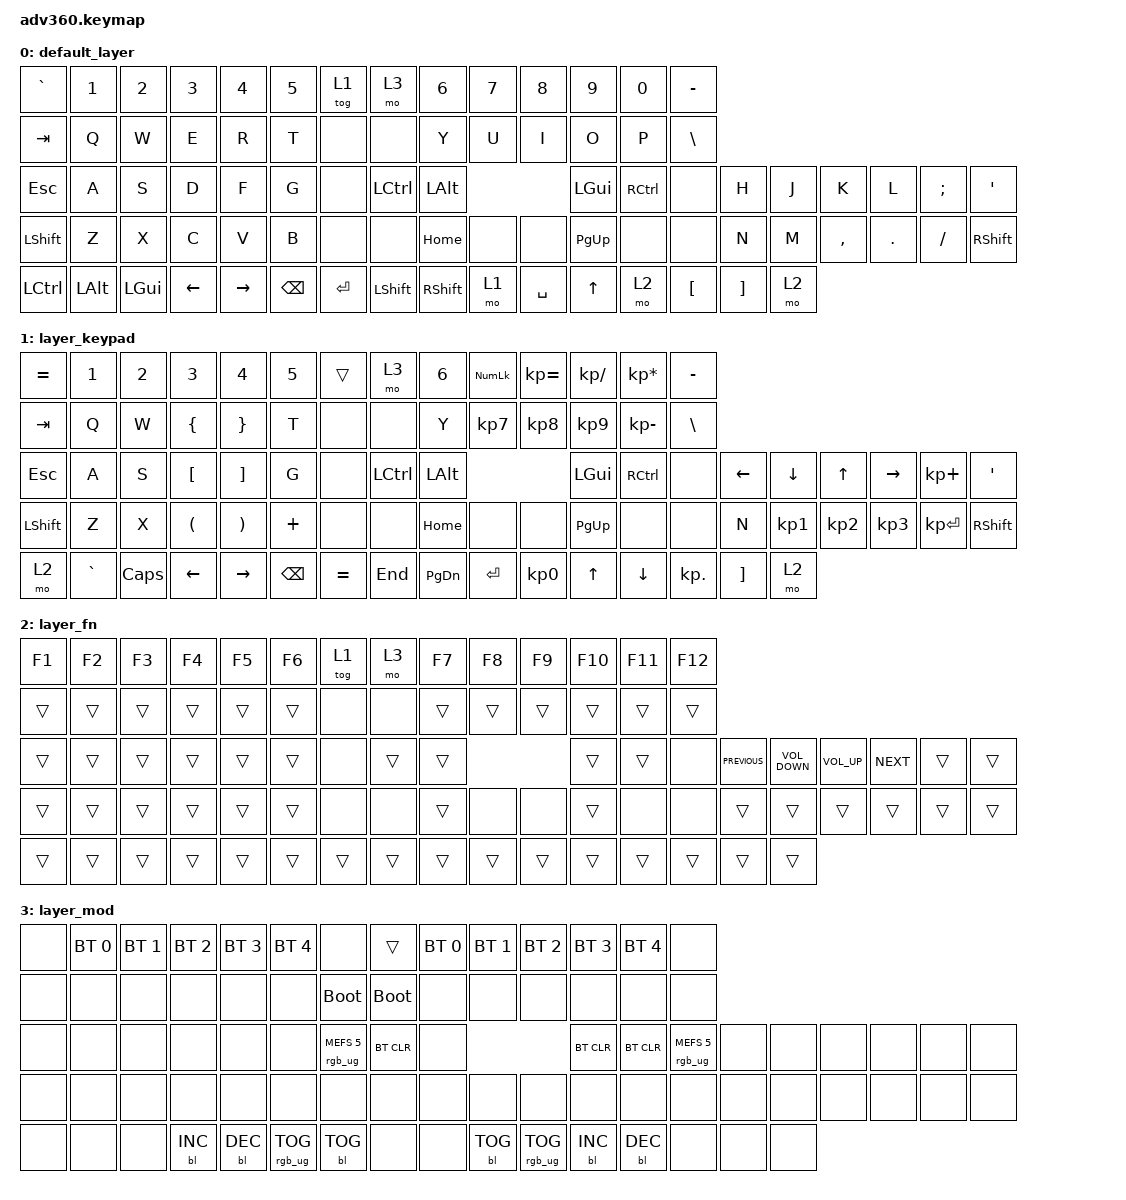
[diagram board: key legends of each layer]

/*
 * Copyright (c) 2020 The ZMK Contributors
 *
 * SPDX-License-Identifier: MIT
 */


/* THIS FILE WAS GENERATED!
 *
 * This file was generated automatically. You may or may not want to
 * edit it directly.
 */

#include <behaviors.dtsi>
#include <dt-bindings/zmk/keys.h>
#include <dt-bindings/zmk/bt.h>
#include <dt-bindings/zmk/rgb.h>
#include <dt-bindings/zmk/backlight.h>

/ {
  behaviors {
    #include "macros.dtsi"

    hm: homerow_mods {
        compatible = "zmk,behavior-hold-tap";
        label = "HOMEROW_MODS";
        #binding-cells = <2>;
        tapping-term-ms = <200>;
        quick_tap_ms = <175>;
        flavor = "tap-preferred";
        bindings = <&kp>, <&kp>;
    };
  };

    keymap {
        compatible = "zmk,keymap";


        default_layer {
            bindings = <
        &kp GRAVE        &kp N1        &kp N2    &kp N3     &kp N4    &kp N5                &tog 1           &mo 3           &kp N6  &kp N7     &kp N8     &kp N9     &kp N0  &kp MINUS
          &kp TAB         &kp Q         &kp W     &kp E      &kp R     &kp T                 &none           &none            &kp Y   &kp U      &kp I      &kp O      &kp P   &kp BSLH
          &kp ESC         &kp A         &kp S     &kp D      &kp F     &kp G                 &none       &kp LCTRL         &kp LALT                      &kp LGUI  &kp RCTRL      &none     &kp H   &kp J      &kp K    &kp L  &kp SEMI    &kp SQT
        &kp LSHFT         &kp Z         &kp X     &kp C      &kp V     &kp B                 &none           &none         &kp HOME   &none      &none  &kp PG_UP      &none      &none     &kp N   &kp M  &kp COMMA  &kp DOT  &kp FSLH  &kp RSHFT
 &kp LEFT_CONTROL  &kp LEFT_ALT  &kp LEFT_GUI  &kp LEFT  &kp RIGHT  &kp BSPC            &kp RETURN  &kp LEFT_SHIFT  &kp RIGHT_SHIFT   &mo 1  &kp SPACE     &kp UP      &mo 2   &kp LBKT  &kp RBKT   &mo 2
            >;
        };

        layer_keypad {
            bindings = <
 &kp EQUAL     &kp N1    &kp N2                &kp N3                 &kp N4    &kp N5               &trans      &mo 3     &kp N6  &kp KP_NUM  &kp KP_EQUAL  &kp KP_DIVIDE  &kp KP_MULTIPLY   &kp MINUS
   &kp TAB      &kp Q     &kp W        &kp LEFT_BRACE        &kp RIGHT_BRACE     &kp T                &none      &none      &kp Y   &kp KP_N7     &kp KP_N8      &kp KP_N9     &kp KP_MINUS    &kp BSLH
   &kp ESC      &kp A     &kp S      &kp LEFT_BRACKET      &kp RIGHT_BRACKET     &kp G                &none  &kp LCTRL   &kp LALT                                 &kp LGUI        &kp RCTRL       &none  &kp LEFT   &kp DOWN     &kp UP  &kp RIGHT   &kp KP_PLUS    &kp SQT
 &kp LSHFT      &kp Z     &kp X  &kp LEFT_PARENTHESIS  &kp RIGHT_PARENTHESIS  &kp PLUS                &none      &none   &kp HOME       &none         &none      &kp PG_UP            &none       &none     &kp N  &kp KP_N1  &kp KP_N2  &kp KP_N3  &kp KP_ENTER  &kp RSHFT
     &mo 2  &kp GRAVE  &kp CAPS              &kp LEFT              &kp RIGHT  &kp BSPC            &kp EQUAL    &kp END  &kp PG_DN   &kp ENTER     &kp KP_N0         &kp UP         &kp DOWN  &kp KP_DOT  &kp RBKT      &mo 2
            >;
        };

        layer_fn {
            bindings = <
 &kp F1  &kp F2  &kp F3  &kp F4  &kp F5  &kp F6            &tog 1   &mo 3  &kp F7  &kp F8  &kp F9  &kp F10  &kp F11  &kp F12
 &trans  &trans  &trans  &trans  &trans  &trans             &none   &none  &trans  &trans  &trans   &trans   &trans   &trans
 &trans  &trans  &trans  &trans  &trans  &trans             &none  &trans  &trans                   &trans   &trans    &none  &kp K_PREVIOUS  &kp K_VOLUME_DOWN  &kp K_VOLUME_UP  &kp K_NEXT  &trans  &trans
 &trans  &trans  &trans  &trans  &trans  &trans             &none   &none  &trans   &none   &none   &trans    &none    &none          &trans             &trans           &trans      &trans  &trans  &trans
 &trans  &trans  &trans  &trans  &trans  &trans            &trans  &trans  &trans  &trans  &trans   &trans   &trans   &trans          &trans             &trans
            >;
        };

        layer_mod {
            bindings = <
  &none  &bt BT_SEL 0  &bt BT_SEL 1  &bt BT_SEL 2  &bt BT_SEL 3     &bt BT_SEL 4                             &none       &trans  &bt BT_SEL 0  &bt BT_SEL 1     &bt BT_SEL 2  &bt BT_SEL 3  &bt BT_SEL 4                   &none
  &none         &none         &none         &none         &none            &none                       &bootloader  &bootloader         &none         &none            &none         &none         &none                   &none
  &none         &none         &none         &none         &none            &none            &rgb_ug RGB_MEFS_CMD 5   &bt BT_CLR         &none                                   &bt BT_CLR    &bt BT_CLR  &rgb_ug RGB_MEFS_CMD 5   &none   &none   &none   &none   &none   &none
  &none         &none         &none         &none         &none            &none                             &none        &none         &none         &none            &none         &none         &none                   &none   &none   &none   &none   &none   &none   &none
  &none         &none         &none    &bl BL_INC    &bl BL_DEC  &rgb_ug RGB_TOG                        &bl BL_TOG        &none         &none    &bl BL_TOG  &rgb_ug RGB_TOG    &bl BL_INC    &bl BL_DEC                   &none   &none   &none
            >;
        };

    };
};
